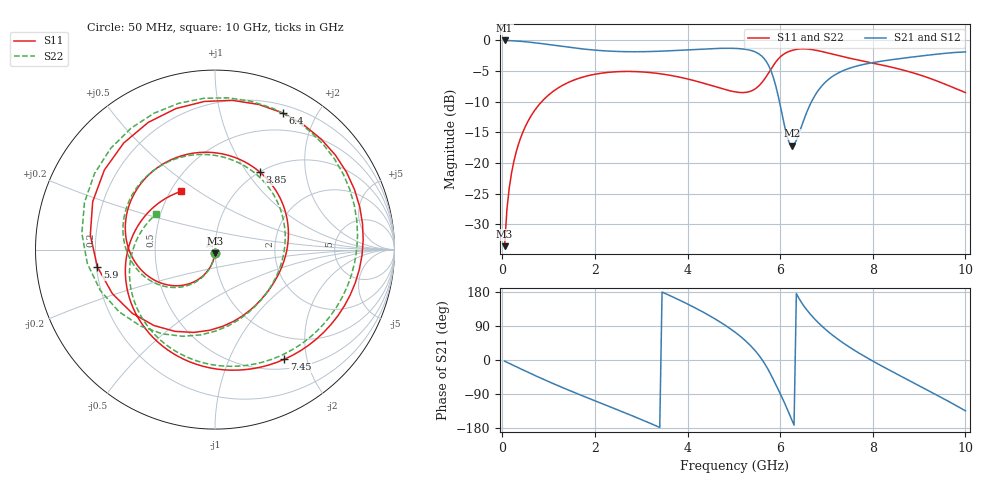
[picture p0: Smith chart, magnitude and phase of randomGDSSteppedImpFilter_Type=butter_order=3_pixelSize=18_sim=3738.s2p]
! freq	dB(S11)	phase(S11)	dB(S12)	phase(S12)
!  dB(S21)	phase(S21)	dB(S22)	phase(S22)
!S-par simulation data
#  GHz  S  DB  R 50
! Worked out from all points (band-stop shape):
!   200 points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, 50 MHz to 10 GHz, reference 50 ohm
!   highest |S21| = 0.00 dB at 50 MHz (marker M1); lowest = -17.2 dB at 6.25 GHz (marker M2)
!   |S21| within 3 dB of the highest: start of sweep to 5.658 GHz; 8.547 GHz to end of sweep
!   lowest |S11| = -33.6 dB at 50 MHz (marker M3), VSWR 1.04, Z = 49.8 - j2.08 ohm
!   |S11| at or under -10 dB: start of sweep to 851.5 MHz
!   |S22| runs from -33.6 to -1.4 dB; largest |S21 - S12| = 0
!   S11 on the Smith chart (normalised r, x): 50 MHz: 1.00, -0.04; 3.85 GHz: 1.00, +1.15; 5.9 GHz: 0.20, -0.07; 6.4 GHz: 0.29, +1.57; 7.45 GHz: 0.64, -1.63; 10 GHz: 0.56, +0.43
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0.05  -33.60 -93.2  -0.00 -3.0  -0.00 -3.0  -33.60 -93.0
0.2  -21.64 -102.6  -0.05 -11.8  -0.05 -11.8  -21.64 -102.0
0.5  -14.03 -120.6  -0.21 -29.2  -0.21 -29.2  -14.03 -119.1
1.1  -8.31 -154.6  -0.78 -62.3  -0.78 -62.3  -8.30 -151.1
1.75  -5.96 171.2  -1.40 -95.4  -1.40 -95.4  -5.96 176.9
2.65  -5.07 125.6  -1.84 -139.4  -1.84 -139.4  -5.06 134.6
3.4  -5.43 85.8  -1.76 -178.0  -1.76 -178.0  -5.43 97.7
3.85  -6.03 60.2  -1.60 156.7  -1.60 156.7  -6.03 73.4
4.55  -7.44 15.9  -1.33 111.6  -1.33 111.6  -7.46 28.8
5.05  -8.43 -22.2  -1.31 71.2  -1.31 71.2  -8.49 -13.4
5.55  -7.34 -84.1  -2.24 10.9  -2.24 10.9  -7.31 -80.1
5.75  -5.31 -128.8  -4.08 -27.3  -4.08 -27.3  -5.14 -121.9
5.9  -3.58 -171.7  -7.27 -63.1  -7.27 -63.1  -3.37 -160.4
6.05  -2.39 144.3  -12.36 -101.4  -12.36 -101.4  -2.23 160.1
6.25  -1.64 94.1  -17.20 -157.7  -17.20 -157.7  -1.59 114.0
6.4  -1.41 63.7  -15.35 163.9  -15.35 163.9  -1.42 84.9
6.7  -1.51 16.4  -9.67 114.1  -9.67 114.1  -1.56 37.3
7  -1.99 -18.4  -6.65 78.6  -6.65 78.6  -2.05 0.3
7.45  -2.82 -57.7  -4.67 37.6  -4.67 37.6  -2.85 -42.8
8.35  -4.27 -118.7  -3.21 -26.1  -3.21 -26.1  -4.26 -108.5
9.25  -6.24 -178.7  -2.35 -83.7  -2.35 -83.7  -6.14 -165.0
10  -8.51 120.4  -1.87 -134.1  -1.87 -134.1  -8.35 148.8
